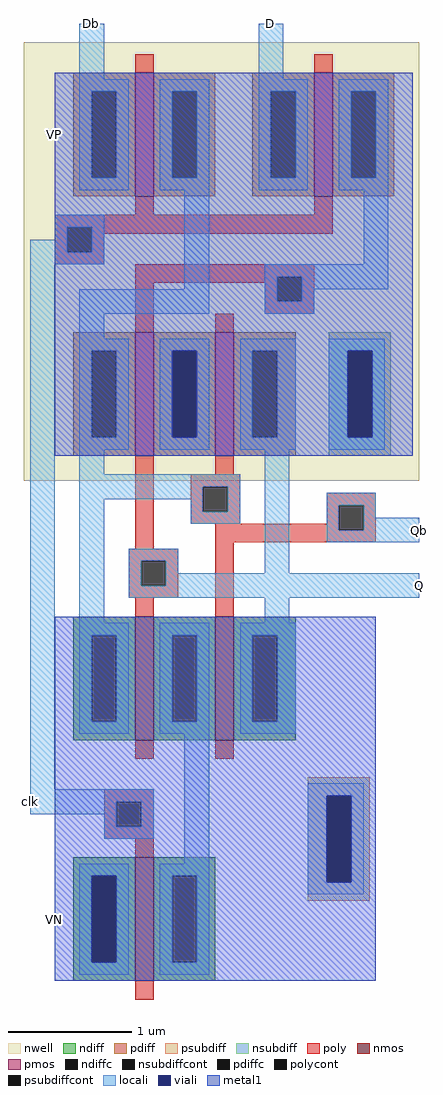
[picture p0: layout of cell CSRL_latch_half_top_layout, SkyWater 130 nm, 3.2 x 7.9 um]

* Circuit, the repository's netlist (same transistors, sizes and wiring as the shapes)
* SPICE3 file created from CSRL_latch_half_top_layout.ext - technology: sky130A

.subckt CSRL_latch_half D Db Q Qb clk VP VN
X0 Q Qb VP VP sky130_fd_pr__pfet_01v8 ad=1e+12p pd=6e+06u as=5e+11p ps=3e+06u w=1e+06u l=150000u
X1 Q Qb a_30_n440# VN sky130_fd_pr__nfet_01v8 ad=5e+11p pd=3e+06u as=1e+12p ps=6e+06u w=1e+06u l=150000u
X2 VP Q Qb VP sky130_fd_pr__pfet_01v8 ad=0p pd=0u as=1e+12p ps=6e+06u w=1e+06u l=150000u
X3 a_30_n440# Q Qb VN sky130_fd_pr__nfet_01v8 ad=0p pd=0u as=5e+11p ps=3e+06u w=1e+06u l=150000u
X4 Q clk D VP sky130_fd_pr__pfet_01v8 ad=0p pd=0u as=5e+11p ps=3e+06u w=1e+06u l=150000u
X5 a_30_n440# clk VN VN sky130_fd_pr__nfet_01v8 ad=0p pd=0u as=5e+11p ps=3e+06u w=1e+06u l=150000u
X6 Qb clk Db VP sky130_fd_pr__pfet_01v8 ad=0p pd=0u as=5e+11p ps=3e+06u w=1e+06u l=150000u
.ends


* Top level circuit CSRL_latch_half_top_layout

XCSRL_latch_half_0 D Db Q Qb clk VP VN CSRL_latch_half
.end

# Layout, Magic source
magic
tech sky130A
<< locali >>
rect 39 770 59 792
rect 184 777 204 792
rect 279 372 314 392
rect 280 327 314 347
rect -1 152 19 172
<< metal1 >>
rect 19 651 32 752
rect 19 17 32 117
use CSRL_latch_half  CSRL_latch_half_0 ~/Documents/Mini_Project_2
transform 1 0 84 0 1 237
box -90 -235 230 555
<< labels >>
rlabel metal1 19 67 19 67 7 VN
rlabel locali -1 162 -1 162 7 clk
rlabel locali 314 382 314 382 3 Qb
rlabel locali 314 337 314 337 3 Q
rlabel metal1 19 702 19 702 7 VP
rlabel locali 49 792 49 792 1 Db
rlabel locali 194 792 194 792 1 D
<< end >>

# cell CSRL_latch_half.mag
magic
tech sky130A
<< nwell >>
rect -90 185 230 540
<< nmos >>
rect 0 -25 15 75
rect 65 -25 80 75
rect 0 -220 15 -120
<< pmos >>
rect 0 415 15 515
rect 145 415 160 515
rect 0 205 15 305
rect 65 205 80 305
<< ndiff >>
rect -50 60 0 75
rect -50 -10 -35 60
rect -15 -10 0 60
rect -50 -25 0 -10
rect 15 60 65 75
rect 15 -10 30 60
rect 50 -10 65 60
rect 15 -25 65 -10
rect 80 60 130 75
rect 80 -10 95 60
rect 115 -10 130 60
rect 80 -25 130 -10
rect -50 -135 0 -120
rect -50 -205 -35 -135
rect -15 -205 0 -135
rect -50 -220 0 -205
rect 15 -135 65 -120
rect 15 -205 30 -135
rect 50 -205 65 -135
rect 15 -220 65 -205
<< pdiff >>
rect -50 500 0 515
rect -50 430 -35 500
rect -15 430 0 500
rect -50 415 0 430
rect 15 500 65 515
rect 15 430 30 500
rect 50 430 65 500
rect 15 415 65 430
rect 95 500 145 515
rect 95 430 110 500
rect 130 430 145 500
rect 95 415 145 430
rect 160 500 210 515
rect 160 430 175 500
rect 195 430 210 500
rect 160 415 210 430
rect -50 290 0 305
rect -50 220 -35 290
rect -15 220 0 290
rect -50 205 0 220
rect 15 290 65 305
rect 15 220 30 290
rect 50 220 65 290
rect 15 205 65 220
rect 80 290 130 305
rect 80 220 95 290
rect 115 220 130 290
rect 80 205 130 220
<< ndiffc >>
rect -35 -10 -15 60
rect 30 -10 50 60
rect 95 -10 115 60
rect -35 -205 -15 -135
rect 30 -205 50 -135
<< pdiffc >>
rect -35 430 -15 500
rect 30 430 50 500
rect 110 430 130 500
rect 175 430 195 500
rect -35 220 -15 290
rect 30 220 50 290
rect 95 220 115 290
<< psubdiff >>
rect 140 -70 190 -55
rect 140 -140 155 -70
rect 175 -140 190 -70
rect 140 -155 190 -140
<< nsubdiff >>
rect 157 290 207 305
rect 157 220 172 290
rect 192 220 207 290
rect 157 205 207 220
<< psubdiffcont >>
rect 155 -140 175 -70
<< nsubdiffcont >>
rect 172 220 192 290
<< poly >>
rect 0 515 15 530
rect 145 515 160 530
rect 0 400 15 415
rect 145 400 160 415
rect -65 390 160 400
rect -65 370 -55 390
rect -35 385 160 390
rect -35 370 -25 385
rect -65 360 -25 370
rect 0 350 145 360
rect 0 345 115 350
rect 0 305 15 345
rect 105 330 115 345
rect 135 330 145 350
rect 105 320 145 330
rect 65 305 80 320
rect 0 130 15 205
rect 65 190 80 205
rect 45 180 85 190
rect 45 160 55 180
rect 75 160 85 180
rect 45 150 85 160
rect 155 165 195 175
rect 155 150 165 165
rect 65 145 165 150
rect 185 145 195 165
rect 65 135 195 145
rect -5 120 35 130
rect -5 100 5 120
rect 25 100 35 120
rect -5 90 35 100
rect 0 75 15 90
rect 65 75 80 135
rect 0 -40 15 -25
rect 65 -40 80 -25
rect -25 -75 15 -65
rect -25 -95 -15 -75
rect 5 -95 15 -75
rect -25 -105 15 -95
rect 0 -120 15 -105
rect 0 -235 15 -220
<< polycont >>
rect -55 370 -35 390
rect 115 330 135 350
rect 55 160 75 180
rect 165 145 185 165
rect 5 100 25 120
rect -15 -95 5 -75
<< locali >>
rect -45 510 -25 555
rect 100 510 120 555
rect -45 500 -5 510
rect -45 430 -35 500
rect -15 430 -5 500
rect -45 420 -5 430
rect 20 500 60 510
rect 20 430 30 500
rect 50 430 60 500
rect 20 420 60 430
rect 100 500 140 510
rect 100 430 110 500
rect 130 430 140 500
rect 100 420 140 430
rect 165 500 205 510
rect 165 430 175 500
rect 195 430 205 500
rect 165 420 205 430
rect -65 390 -25 400
rect -65 380 -55 390
rect -85 370 -55 380
rect -35 370 -25 390
rect -85 360 -25 370
rect -85 -65 -65 360
rect 40 340 60 420
rect 185 360 205 420
rect -45 320 60 340
rect 105 350 205 360
rect 105 330 115 350
rect 135 340 205 350
rect 135 330 145 340
rect 105 320 145 330
rect -45 300 -25 320
rect -45 290 -5 300
rect -45 220 -35 290
rect -15 220 -5 290
rect -45 210 -5 220
rect 20 290 60 300
rect 20 220 30 290
rect 50 220 60 290
rect 20 210 60 220
rect 85 290 130 300
rect 85 220 95 290
rect 115 220 130 290
rect 85 210 130 220
rect 157 290 202 300
rect 157 220 172 290
rect 192 220 202 290
rect 157 210 202 220
rect -45 190 -25 210
rect -45 180 85 190
rect -45 170 55 180
rect -45 70 -25 170
rect 45 160 55 170
rect 75 160 85 180
rect 45 150 85 160
rect -5 120 35 130
rect -5 100 5 120
rect 25 110 35 120
rect 105 110 125 210
rect 155 165 195 175
rect 155 145 165 165
rect 185 155 195 165
rect 185 145 230 155
rect 155 135 230 145
rect 25 100 230 110
rect -5 90 230 100
rect 105 70 125 90
rect -45 60 -5 70
rect -45 -10 -35 60
rect -15 -10 -5 60
rect -45 -20 -5 -10
rect 20 60 60 70
rect 20 -10 30 60
rect 50 -10 60 60
rect 20 -20 60 -10
rect 85 60 130 70
rect 85 -10 95 60
rect 115 -10 130 60
rect 85 -20 130 -10
rect -85 -75 15 -65
rect -85 -85 -15 -75
rect -25 -95 -15 -85
rect 5 -95 15 -75
rect -25 -105 15 -95
rect 40 -125 60 -20
rect -45 -135 -5 -125
rect -45 -205 -35 -135
rect -15 -205 -5 -135
rect -45 -215 -5 -205
rect 20 -135 60 -125
rect 20 -205 30 -135
rect 50 -205 60 -135
rect 140 -70 185 -60
rect 140 -140 155 -70
rect 175 -140 185 -70
rect 140 -150 185 -140
rect 20 -215 60 -205
<< viali >>
rect 30 220 50 290
rect 172 220 192 290
rect -35 -205 -15 -135
rect 155 -140 175 -70
<< metal1 >>
rect -65 290 225 515
rect -65 220 30 290
rect 50 220 172 290
rect 192 220 225 290
rect -65 205 225 220
rect -65 -70 195 75
rect -65 -135 155 -70
rect -65 -205 -35 -135
rect -15 -140 155 -135
rect 175 -140 195 -70
rect -15 -205 195 -140
rect -65 -220 195 -205
<< labels >>
rlabel locali -35 555 -35 555 1 Db
port 2 n
rlabel locali 110 555 110 555 1 D
port 1 n
rlabel locali -85 -75 -85 -75 7 clk
port 5 w
rlabel locali 230 100 230 100 3 Q
port 3 e
rlabel locali 230 145 230 145 3 Qb
port 4 e
rlabel metal1 -65 465 -65 465 7 VP
port 6 w
rlabel metal1 -65 -170 -65 -170 7 VN
port 7 w
<< end >>
